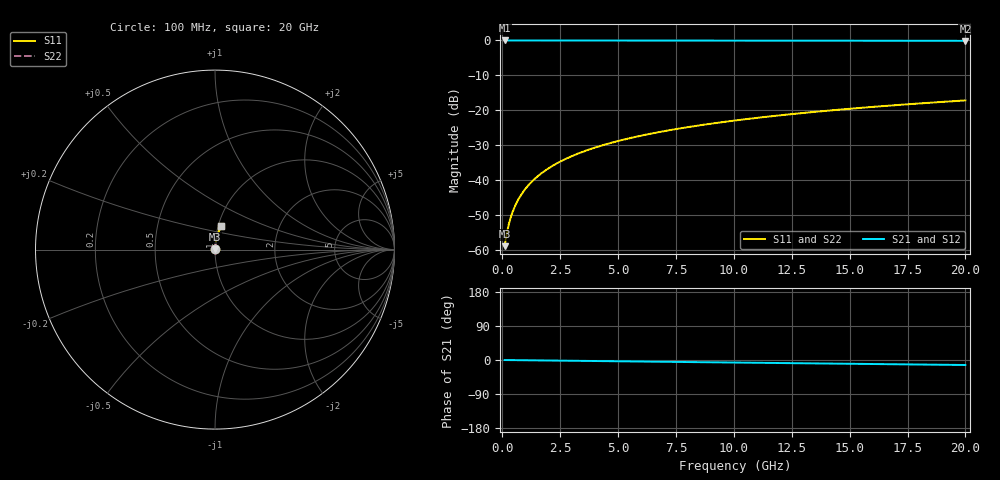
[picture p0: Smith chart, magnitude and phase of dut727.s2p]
! Touchstone file exported from HFSS 2026.1.0
!  File:  C:/ffzhzh/LocalFiles/Ansys_Project_Files/temp_train_TMRDL_727_1783154858_18472.aedt
!  Generated:  04:48:44 PM Jul  4, 2026
!  Design:  TMRDL
!  Project:  temp_train_TMRDL_727_1783154858_18472
! Variables:
!  h_bsmrdl = 2um
!  h_ox = 20um
!  h_rdl = 5um
!  h_sub = 80um
!  h_tmrdl = 5.1um
!  h_tsv = 80um
!  h_via = 3um
!  l_bsmrdl = 300um
!  l_sub = 560.91um
!  l_tmrdl = 160.91um
!  m_sub = 200um
!  pitch = 41.56um
!  r_tsv = 6um
!  s_tmrdl = 10um
!  w_bsmrdl = 18um
!  w_sub = 500um
!  w_tmrdl = 16.2um
!  x_tsv_center1 = 169.01um
!  x_tsv_center2 = 487.01um
!  x_tsv_center3 = 664.12um
!  x_tsv_center4 = 982.12um
!  x_tsv_center5 = 1159.23um
!  x_tsv_center6 = 1477.23um
# GHz S MA R 50.000000
! Terminal data exported
! Port[1] = TM_RDL1_1_T1
! Port[2] = TM_RDL1_1_T2
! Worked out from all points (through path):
!   200 points, 100 MHz to 20 GHz, reference 50 ohm
!   highest |S21| = -0.01 dB at 100 MHz (marker M1); lowest = -0.1 dB at 20 GHz (marker M2)
!   group delay of S21, straight-line fit = 1.83 ps
!   lowest |S11| = -58.9 dB at 100 MHz (marker M3), VSWR 1.00, Z = 50.1 + j0.0788 ohm
!   |S11| at or under -10 dB: start of sweep to end of sweep
!   |S22| runs from -58.9 to -17.2 dB; largest |S21 - S12| = 2.7e-15
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0.1  0.001136 43.8  0.9992 -0.1  0.9992 -0.1  0.001136 43.8
! Gamma 0 0 0 0
! Port Impedance 50 0 50 0
0.2  0.001775 61.3  0.9992 -0.1  0.9992 -0.1  0.001775 61.3
0.3  0.002476 68.8  0.9991 -0.2  0.9991 -0.2  0.002476 68.8
0.4  0.003188 73.0  0.9991 -0.3  0.9991 -0.3  0.003188 73.0
0.5  0.003903 75.7  0.999 -0.3  0.999 -0.3  0.003903 75.7
0.6  0.004622 77.5  0.999 -0.4  0.999 -0.4  0.004622 77.5
0.8  0.006065 80.0  0.999 -0.6  0.999 -0.6  0.006065 80.0
1.1  0.008243 82.0  0.9989 -0.8  0.9989 -0.8  0.008243 82.0
1.5  0.01116 83.3  0.9988 -1.0  0.9988 -1.0  0.01116 83.3
1.8  0.01334 83.8  0.9987 -1.2  0.9987 -1.2  0.01334 83.8
2.1  0.01553 84.1  0.9987 -1.4  0.9987 -1.4  0.01553 84.1
2.7  0.01988 84.3  0.9985 -1.8  0.9985 -1.8  0.01988 84.3
3.5  0.02564 84.2  0.9981 -2.4  0.9981 -2.4  0.02564 84.2
4.2  0.03065 84.0  0.9978 -2.9  0.9978 -2.9  0.03065 84.0
5  0.03633 83.6  0.9975 -3.4  0.9975 -3.4  0.03633 83.6
5.9  0.04267 83.2  0.997 -4.0  0.997 -4.0  0.04267 83.2
6.8  0.04896 82.7  0.9965 -4.6  0.9965 -4.6  0.04896 82.7
8.3  0.05939 81.9  0.9957 -5.6  0.9957 -5.6  0.05939 81.9
10.1  0.0718 80.9  0.9945 -6.8  0.9945 -6.8  0.0718 80.9
13.4  0.09434 79.0  0.9922 -8.9  0.9922 -8.9  0.09434 79.0
16.7  0.1166 77.1  0.9895 -11.1  0.9895 -11.1  0.1166 77.1
20  0.1385 75.1  0.9863 -13.2  0.9863 -13.2  0.1385 75.1
